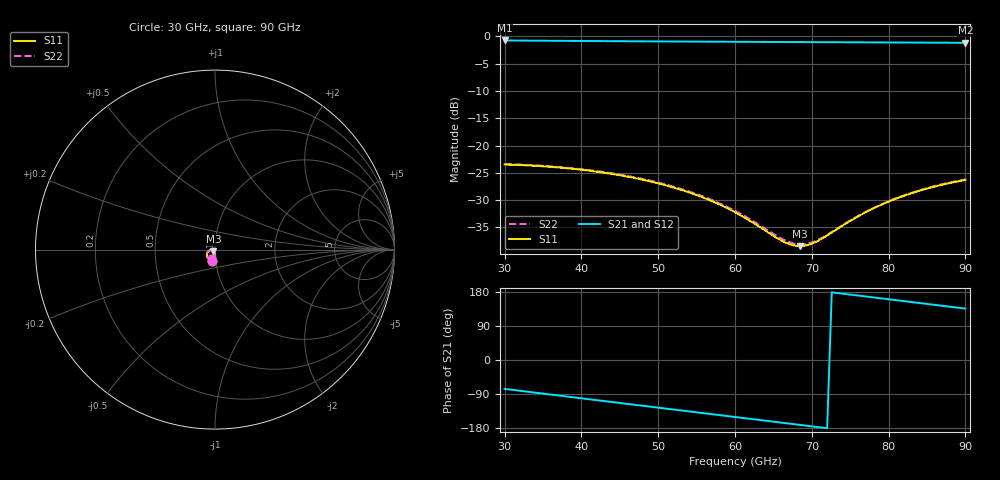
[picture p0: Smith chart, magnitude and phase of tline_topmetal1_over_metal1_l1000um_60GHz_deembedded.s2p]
! Created with skrf 2.2.0 (http://scikit-rf.org).
# GHz S DB R 50.0
! Port[1] = P1
! Port[2] = P2
!freq dBS11 angS11 dBS21 angS21 dBS12 angS12 dBS22 angS22
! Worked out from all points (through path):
!   101 points, 30 GHz to 90 GHz, reference 50 ohm
!   highest |S21| = -0.77 dB at 30 GHz (marker M1); lowest = -1.2 dB at 90 GHz (marker M2)
!   group delay of S21, straight-line fit = 6.85 ps
!   lowest |S11| = -38.4 dB at 68.4 GHz (marker M3), VSWR 1.02, Z = 49.2 - j0.834 ohm
!   |S11| at or under -10 dB: start of sweep to end of sweep
!   |S22| runs from -38.1 to -23.4 dB; largest |S21 - S12| = 1.6e-13
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30  -23.47 -103.8  -0.77 -76.2  -0.77 -76.2  -23.40 -103.6
34.8  -23.78 -118.8  -0.82 -88.2  -0.82 -88.2  -23.69 -118.4
37.2  -24.04 -125.9  -0.84 -94.1  -0.84 -94.1  -23.94 -125.5
40.2  -24.46 -134.5  -0.87 -101.5  -0.87 -101.5  -24.36 -134.0
45  -25.44 -147.3  -0.91 -113.4  -0.91 -113.4  -25.32 -146.7
50.4  -27.07 -160.0  -0.95 -126.7  -0.95 -126.7  -26.92 -159.3
53.4  -28.30 -165.9  -0.97 -134.1  -0.97 -134.1  -28.13 -165.1
55.8  -29.50 -169.7  -0.99 -140.0  -0.99 -140.0  -29.31 -168.9
60  -32.20 -172.8  -1.01 -150.4  -1.01 -150.4  -31.96 -171.9
63  -34.70 -169.5  -1.03 -157.8  -1.03 -157.8  -34.40 -168.7
66  -37.36 -155.8  -1.05 -165.2  -1.05 -165.2  -37.00 -155.6
67.2  -38.11 -146.3  -1.06 -168.1  -1.06 -168.1  -37.76 -146.5
68.4  -38.42 -135.0  -1.07 -171.1  -1.07 -171.1  -38.10 -135.7
69  -38.36 -129.3  -1.07 -172.6  -1.07 -172.6  -38.08 -130.0
70.2  -37.85 -118.6  -1.08 -175.5  -1.08 -175.5  -37.64 -119.4
71.4  -36.98 -110.0  -1.08 -178.5  -1.08 -178.5  -36.82 -110.7
76.2  -32.83 -96.0  -1.11 169.7  -1.11 169.7  -32.76 -95.9
78  -31.52 -95.7  -1.12 165.2  -1.12 165.2  -31.45 -95.4
80.4  -30.04 -97.2  -1.14 159.3  -1.14 159.3  -29.96 -96.6
82.8  -28.81 -100.0  -1.15 153.4  -1.15 153.4  -28.73 -99.3
85.2  -27.81 -103.6  -1.17 147.5  -1.17 147.5  -27.72 -102.8
90  -26.30 -112.3  -1.20 135.7  -1.20 135.7  -26.19 -111.2
